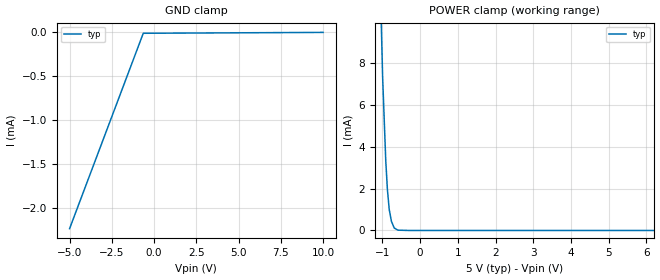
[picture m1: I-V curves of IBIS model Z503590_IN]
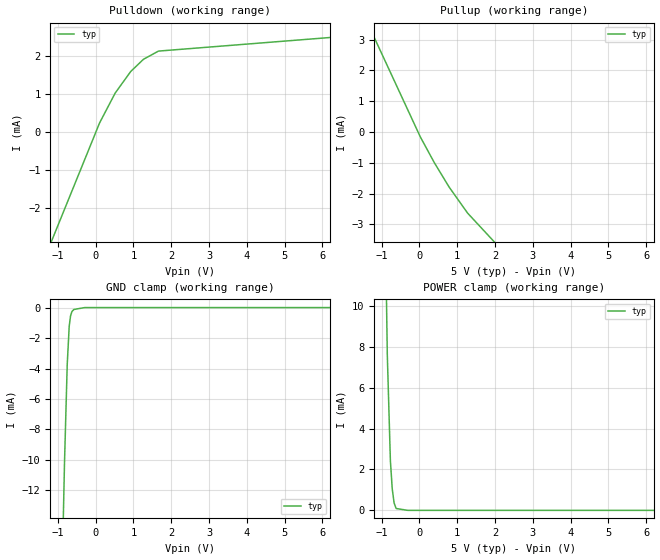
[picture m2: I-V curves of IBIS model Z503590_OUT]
| YOU ARE ONLY AUTHORIZED TO USE THIS SOFTWARE
| ACCORDING TO LICENSOR'S LICENSE RESTRICTIONS.
[IBIS Ver] 3.1
[File Name] mc14174bcl.ibs
[File Rev] 2.0
[Source] Measured and created by ICX Technology
[Date] Friday 7/14/00 9:07:53 AM
[Copyright]
| (C) COPYRIGHT 1993-2000
| MENTOR GRAPHICS CORPORATION
| ICX STANDARD LIBRARY, ICX PROJECT MODELING,
| ICX CUSTOM MODELING, ICX VENDOR MODEL
| ALL RIGHTS RESERVED.
| THE FOLLOWING ARE TRADEMARKS OR SERVICE MARKS OF
| MENTOR GRAPHICS CORPORATION:ICX (R), ICX STANDARD
| LIBRARY(R), ICX PROJECT MODELING(R), ICX CUSTOM
| MODELING(R), qualityIBIS(TM), MODELVIEWER(TM),
| AND MODELEDITOR(TM)
| ALL COPIES OF SOFTWARE, INCLUDING BUT NOT LIMITED TO
| ANY MODIFICATIONS, ENHANCEMENTS OR DERIVATIVE WORKS,
| MUST CONTAIN ALL MENTOR GRAPHICS CORPORATION'S
| NOTICES AND LEGENDS, INCLUDING THOSE EMBEDDED IN
| SOFTWARE AND THOSE AFFIXED TO SOFTWARE MEDIUM
| AND CONTAINER, AS RECEIVED FROM MENTOR GRAPHICS
| CORPORATION.
|  ZAP Model Builder 2.7
[Component] MC14174BCL
[Manufacturer] OnSemiconductor
[Package]
| variable   typ   min   max
R_pkg  .212ohms NA NA
L_pkg  4.758nH NA NA
C_pkg  1.944pF NA NA
[Pin] signal_name  model_name  R_pin  L_pin C_pin
1 _R Z503590_IN .224 7.258n 2.683p
2 Q0 Z503590_OUT .216 5.258n 2.19p
3 D0 Z503590_IN .208 3.758n 1.697p
4 D1 Z503590_IN .2 2.758n 1.204p
5 Q1 Z503590_OUT .2 2.758n 1.204p
6 D2 Z503590_IN .208 3.758n 1.697p
7 Q2 Z503590_OUT .216 5.258n 2.19p
8 VSS POWER .224 7.258n 2.683p
9 C Z503590_IN .224 7.258n 2.683p
10 Q3 Z503590_OUT .216 5.258n 2.19p
11 D3 Z503590_IN .208 3.758n 1.697p
12 Q4 Z503590_OUT .2 2.758n 1.204p
13 D4 Z503590_IN .2 2.758n 1.204p
14 D5 Z503590_IN .208 3.758n 1.697p
15 Q5 Z503590_OUT .216 5.258n 2.19p
16 VDD POWER .224 7.258n 2.683p
| Models and submodels in the file (2): Z503590_IN (Input), Z503590_OUT (Output)
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| (C) COPYRIGHT 1993-2000
| MENTOR GRAPHICS CORPORATION
| ICX STANDARD LIBRARY, ICX PROJECT MODELING,
| ICX CUSTOM MODELING, ICX VENDOR MODEL
| ALL RIGHTS RESERVED.
| THE FOLLOWING ARE TRADEMARKS OR SERVICE MARKS OF
| MENTOR GRAPHICS CORPORATION:ICX (R), ICX STANDARD
| LIBRARY(R), ICX PROJECT MODELING(R), ICX CUSTOM
| MODELING(R), qualityIBIS(TM), MODELVIEWER(TM),
| AND MODELEDITOR(TM)
| ALL COPIES OF SOFTWARE, INCLUDING BUT NOT LIMITED TO
| ANY MODIFICATIONS, ENHANCEMENTS OR DERIVATIVE WORKS,
| MUST CONTAIN ALL MENTOR GRAPHICS CORPORATION'S
| NOTICES AND LEGENDS, INCLUDING THOSE EMBEDDED IN
| SOFTWARE AND THOSE AFFIXED TO SOFTWARE MEDIUM
| AND CONTAINER, AS RECEIVED FROM MENTOR GRAPHICS
| CORPORATION.
| Model Application Version 1.89 2/18/99.
[Model] Z503590_IN
Model_type Input
Vinl = 1.500V
Vinh = 3.500V
C_comp 4.000pF NA NA
| variable typ   min   max
[Voltage Range] 5.000V NA NA
[GND Clamp Reference] 0.000V NA NA
[POWER Clamp Reference] 5.000V NA NA
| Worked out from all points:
|   POWER clamp passes 1 mA (typ) near -0.82 V on its own axis
[GND Clamp]
-5V       -2.231mA   NA         NA
-639.5mV  -12.82uA   NA         NA
10V       -2.875uA   NA         NA
[POWER Clamp]
-5V       294mA      NA         NA
-996mV    7.334mA    NA         NA
-913mV    3.344mA    NA         NA
-869mV    1.958mA    NA         NA
-820mV    993uA      NA         NA
-762mV    433.8uA    NA         NA
-688mV    117.3uA    NA         NA
-591mV    15.25uA    NA         NA
-295.5mV  0A         NA         NA
10V       0A         NA         NA
| (C) COPYRIGHT 1993-2000
| MENTOR GRAPHICS CORPORATION
| ICX STANDARD LIBRARY, ICX PROJECT MODELING,
| ICX CUSTOM MODELING, ICX VENDOR MODEL
| ALL RIGHTS RESERVED.
| THE FOLLOWING ARE TRADEMARKS OR SERVICE MARKS OF
| MENTOR GRAPHICS CORPORATION:ICX (R), ICX STANDARD
| LIBRARY(R), ICX PROJECT MODELING(R), ICX CUSTOM
| MODELING(R), qualityIBIS(TM), MODELVIEWER(TM),
| AND MODELEDITOR(TM)
| ALL COPIES OF SOFTWARE, INCLUDING BUT NOT LIMITED TO
| ANY MODIFICATIONS, ENHANCEMENTS OR DERIVATIVE WORKS,
| MUST CONTAIN ALL MENTOR GRAPHICS CORPORATION'S
| NOTICES AND LEGENDS, INCLUDING THOSE EMBEDDED IN
| SOFTWARE AND THOSE AFFIXED TO SOFTWARE MEDIUM
| AND CONTAINER, AS RECEIVED FROM MENTOR GRAPHICS
| CORPORATION.
| Model Application Version 1.89 2/18/99.
[Model] Z503590_OUT
Model_type Output
Vref=0.000V
Rref=500.0Mohms
Cref=50.00pF
Vmeas=2.500V
C_comp 8.000pF NA NA
| variable typ   min   max
[Voltage Range] 5.000V NA NA
[POWER Clamp Reference] 5.000V NA NA
[Pullup Reference] 5.000V NA NA
[Pulldown Reference] 0.000V NA NA
[GND Clamp Reference] 0.000V NA NA
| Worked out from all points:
|   slope of the pulldown table from 0 to 0.75 V, typ, clamps not added: 549 ohm
|   slope of the pullup table from 0 to 0.75 V, typ, clamps not added: 463 ohm
|   GND clamp passes 1 mA (typ) near -0.69 V on its own axis
|   POWER clamp passes 1 mA (typ) near -0.71 V on its own axis
[GND Clamp]
-5V       -494.4mA   NA         NA
-824.1mV  -10.24mA   NA         NA
-751.9mV  -3.747mA   NA         NA
-699.4mV  -1.237mA   NA         NA
-664.1mV  -551.8uA   NA         NA
-627.3mV  -258uA     NA         NA
-573.3mV  -124.3uA   NA         NA
-286.7mV  0A         NA         NA
10V       0A         NA         NA
[Pulldown]
-5V       -12.27mA   NA         NA
104.8mV   242.2uA    NA         NA
516.9mV   1.028mA    NA         NA
927.7mV   1.596mA    NA         NA
1.265V    1.918mA    NA         NA
1.662V    2.134mA    NA         NA
10V       2.792mA    NA         NA
[Pullup]
-5V       13.15mA    NA         NA
24mV      -155uA     NA         NA
396mV     -995.1uA   NA         NA
786mV     -1.784mA   NA         NA
1.275V    -2.63mA    NA         NA
10V       -14.17mA   NA         NA
[POWER Clamp]
-5V       525.4mA    NA         NA
-849mV    7.63mA     NA         NA
-767mV    2.423mA    NA         NA
-718mV    1.051mA    NA         NA
-669mV    359.4uA    NA         NA
-615mV    91.42uA    NA         NA
-307.5mV  0A         NA         NA
10V       0A         NA         NA
[Ramp]
| variable typ min max
dV/dt_r 2.550/13.90n NA NA
dV/dt_f 2.550/16.68n NA NA
R_load = 2.500kOhms
